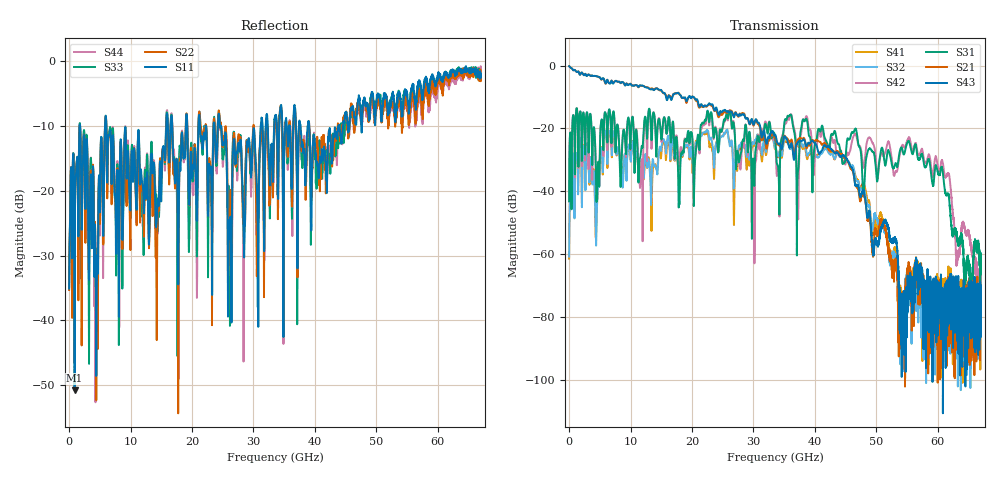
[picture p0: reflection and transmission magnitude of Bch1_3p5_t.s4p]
!Agilent Technologies,N5247A,US51170199,A.09.90.13
!Agilent N5247A: A.09.90.13
!Date: Wednesday, October 17, 2018 14:48:24
!Correction: S11(Full 4 Port(1,2,3,4))
!S12(Full 4 Port(1,2,3,4))
!S13(Full 4 Port(1,2,3,4))
!S14(Full 4 Port(1,2,3,4))
!S21(Full 4 Port(1,2,3,4))
!S22(Full 4 Port(1,2,3,4))
!S23(Full 4 Port(1,2,3,4))
!S24(Full 4 Port(1,2,3,4))
!S31(Full 4 Port(1,2,3,4))
!S32(Full 4 Port(1,2,3,4))
!S33(Full 4 Port(1,2,3,4))
!S34(Full 4 Port(1,2,3,4))
!S41(Full 4 Port(1,2,3,4))
!S42(Full 4 Port(1,2,3,4))
!S43(Full 4 Port(1,2,3,4))
!S44(Full 4 Port(1,2,3,4))
!S4P File: Measurements: <S11,S12,S13,S14>,
!<S21,S22,S23,S24>,
!<S31,S32,S33,S34>,
!<S41,S42,S43,S44>:
# Hz S  dB  R 50
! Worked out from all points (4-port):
!   6701 points, 10 MHz to 67 GHz, reference 50 ohm
!   strongest paths, dB at 10 MHz, 16.76 GHz, 33.51 GHz, 50.25 GHz, 67 GHz:
!     S43: -0.2, -10.4, -22.1, -57.6, -76.0
!     S21: -0.2, -10.2, -22.8, -54.1, -77.0
!     S31: -43.2, -20.4, -22.6, -34.9, -61.9
!     S42: -43.1, -20.4, -23.0, -35.5, -66.3
!     S32: -60.8, -23.4, -26.2, -49.3, -78.5
!     S41: -61.4, -24.5, -26.5, -50.8, -73.2
!   lowest |S11| = -50.8 dB at 899.9 MHz (marker M1), VSWR 1.01, Z = 49.8 - j0.193 ohm
!   |S11| at or under -10 dB: 6.073 GHz to 15.8 GHz (9.728 GHz wide, 88.9 % of centre); 24.74 GHz to 31.17 GHz (6.428 GHz wide, 23 % of centre); 39.07 GHz to 43.83 GHz (4.754 GHz wide, 11.5 % of centre)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
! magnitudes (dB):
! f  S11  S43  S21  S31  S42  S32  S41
! 10 MHz  -35.1  -0.2  -0.2  -43.2  -43.1  -60.8  -61.4
! 899.9 MHz  -50.8  -1.3  -1.4  -25.0  -25.1  -43.1  -42.1
! 4.399 GHz  -45.4  -3.3  -3.3  -37.2  -36.6  -57.3  -53.9
! 6.159 GHz  -15.3  -4.6  -4.7  -19.5  -20.0  -25.6  -26.1
! 41.74 GHz  -15.5  -25.7  -24.9  -23.6  -24.0  -26.5  -26.1
! 55.26 GHz  -8.1  -69.7  -64.3  -24.1  -22.8  -67.8  -69.4
! 67 GHz  -2.4  -76.0  -77.0  -61.9  -66.3  -78.5  -73.2
